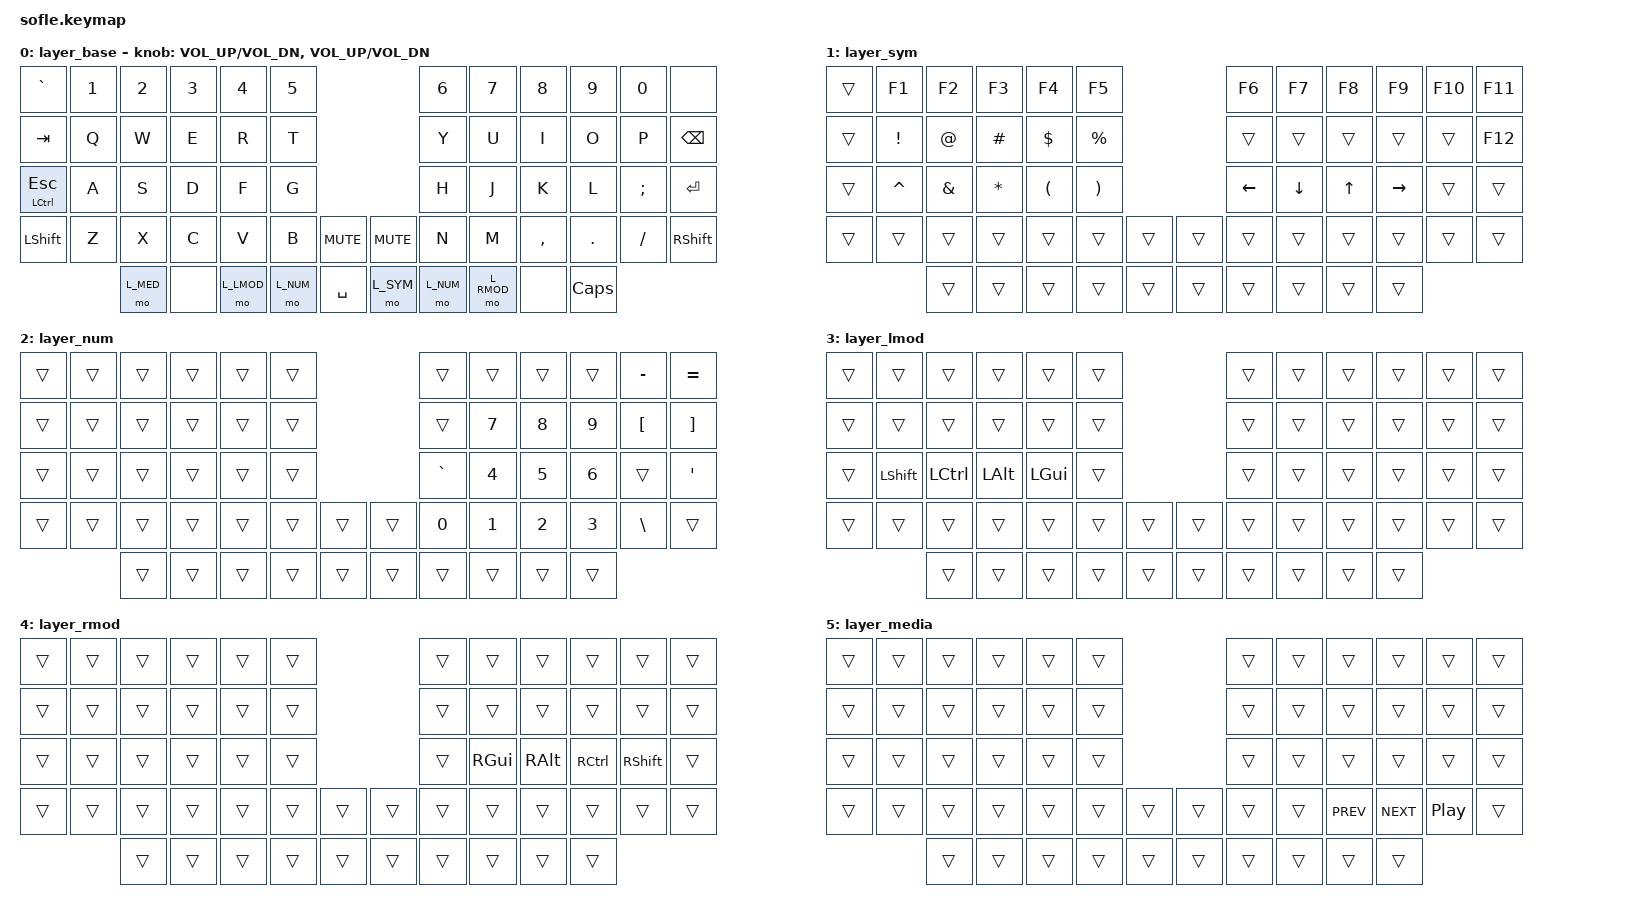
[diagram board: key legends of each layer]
/*
 * Copyright (c) 2020 The ZMK Contributors
 *
 * SPDX-License-Identifier: MIT
 */

#include <behaviors.dtsi>
#include <dt-bindings/zmk/keys.h>
#include <dt-bindings/zmk/bt.h>

#define BASE 0
#define L_SYM 1 // navigation, symbols, fn
#define L_NUM 2 // numpad, right-corner symbols
#define L_LMOD 3
#define L_RMOD 4
#define L_MED 5

/ {
    keymap {
        compatible = "zmk,keymap";

        layer_base {
// ------------------------------------------------------------------------------------------------------------
// |   ˙    |  1  |  2    |  3   |  4   |  5   |                   |  6   |  7    |  8    |  9   |   0   |       |
// |  TAB   |  Q  |  W    |  E   |  R   |  T   |                   |  Y   |  U    |  I    |  O   |   P   | BKSPC |
// |  ESC   |  A  |  D    |  D   |  F   |  G   |                   |  H   |  J    |  K    | L    |   ;   |RETURN |
// | LSHIFT |  Z  |  X    |  C   |  V   |  B   |  MUTE  |  | MUTE  |  N   |  M    |  ,    |  .   |   /   | RSHIFT|
//                | L_MED |      |L_LMOD| L_NUM|  SPACE |  | L_SYM | L_NUM|L_RMOD |       | CAPS |
            bindings = <
&kp GRAVE     &kp N1   &kp N2    &kp N3   &kp N4     &kp N5                          &kp N6    &kp N7     &kp N8    &kp N9  &kp N0   &none
&kp TAB       &kp Q    &kp W     &kp E    &kp R      &kp T                           &kp Y     &kp U      &kp I     &kp O   &kp P    &kp BSPC
&mt LCTRL ESC &kp A    &kp S     &kp D    &kp F      &kp G                           &kp H     &kp J      &kp K     &kp L   &kp SEMI &kp RETURN
&kp LSHIFT    &kp Z    &kp X     &kp C    &kp V      &kp B     &kp C_MUTE &kp C_MUTE &kp N     &kp M      &kp COMMA &kp DOT &kp FSLH &kp RSHIFT
                       &mo L_MED &none    &mo L_LMOD &mo L_NUM &kp SPACE  &mo L_SYM  &mo L_NUM &mo L_RMOD &none     &kp CAPS
            >;

            sensor-bindings = <&inc_dec_kp C_VOL_UP C_VOL_DN &inc_dec_kp C_VOL_UP C_VOL_DN>;
        };

        layer_sym {
// TODO: Some binds are waiting for shifted keycode support.
// ------------------------------------------------------------------------------------------------------------
// |       |  F1   |   F2  |   F3  |  F4   |  F5   |                 |  F6   |  F7   |  F8   |  F9   |  F10  |  F11  |
// |       |  EXCL | AT    |  HASH | DLLR  | PRCNT |                 |       |       |       |       |       |  F12  |
// |       | CARET | AMPS  | ASTRK | LPAR  | RPAR  |                 | LEFT  | DOWN  |  UP   | RIGHT |       |       |
// |       |       |       |       |       |       |      |  |       |       |       |       |       |       |       |
//                 |       |       |       |       |      |  |       |       |       |       |       |
            bindings = <
&trans &kp F1    &kp F2   &kp F3    &kp F4   &kp F5               &kp F6   &kp F7   &kp F8 &kp F9    &kp F10 &kp F11
&trans &kp EXCL  &kp AT   &kp HASH  &kp DLLR &kp PRCNT            &trans   &trans   &trans &trans    &trans  &kp F12
&trans &kp CARET &kp AMPS &kp ASTRK &kp LPAR &kp RPAR             &kp LEFT &kp DOWN &kp UP &kp RIGHT &trans  &trans
&trans &trans    &trans   &trans    &trans   &trans &trans &trans &trans   &trans   &trans &trans    &trans  &trans
                 &trans   &trans    &trans   &trans &trans &trans &trans &trans &trans  &trans
            >;
        };

        layer_num {
// ------------------------------------------------------------------------------------------------------------
// |       |       |       |       |       |       |                 |       |       |       |       | MINUS | EQUAL |
// |       |       |       |       |       |       |                 |       |   7   |   8   |   9   | LBKT  | RBKT  |
// |       |       |       |       |       |       |                 |   `   |   4   |   5   |   6   |       |  SQT  |
// |       |       |       |       |       |       |      |  |       |   0   |   1   |   2   |   3   |  \    |       |
//                 |       |       |       |       |      |  |       |       |       |       |       |
            bindings = <
&trans &trans    &trans   &trans    &trans   &trans                     &trans    &trans &trans &trans &kp MINUS &kp EQUAL
&trans &trans    &trans   &trans    &trans   &trans                     &trans    &kp N7 &kp N8 &kp N9 &kp LBKT  &kp RBKT
&trans &trans    &trans   &trans    &trans   &trans                     &kp GRAVE &kp N4 &kp N5 &kp N6 &trans    &kp SQT
&trans &trans    &trans   &trans    &trans   &trans    &trans    &trans &kp N0    &kp N1 &kp N2 &kp N3 &kp BSLH  &trans
                 &trans   &trans    &trans   &trans    &trans    &trans &trans    &trans &trans &trans
            >;
        };

        layer_lmod {
// ------------------------------------------------------------------------------------------------------------
// |       |       |       |       |       |       |                 |       |       |       |       |       |       |
// |       |       |       |       |       |       |                 |       |       |       |       |       |       |
// |       | LSHIFT| LCTRL | LALT  | LGUI  |       |                 |       |       |       |       |       |       |
// |       |       |       |       |       |       |      |  |       |       |       |       |       |       |       |
//                 |       |       |       |       |      |  |       |       |       |       |       |
            bindings = <
&trans &trans     &trans    &trans    &trans   &trans                       &trans    &trans &trans &trans &trans &trans
&trans &trans     &trans    &trans    &trans   &trans                       &trans    &trans &trans &trans &trans &trans
&trans &kp LSHIFT &kp LCTL  &kp LALT  &kp LGUI &trans                       &trans    &trans &trans &trans &trans &trans
&trans &trans     &trans    &trans    &trans   &trans    &trans   &trans    &trans    &trans &trans &trans &trans &trans
                  &trans    &trans    &trans   &trans    &trans   &trans    &trans    &trans &trans &trans
            >;
        };

        layer_rmod {
// ------------------------------------------------------------------------------------------------------------
// |       |       |       |       |       |       |                 |       |       |       |       |       |       |
// |       |       |       |       |       |       |                 |       |       |       |       |       |       |
// |       |       |       |       |       |       |                 |       | RGUI  | RALT  | RCTL  |RSHIFT |       |
// |       |       |       |       |       |       |      |  |       |       |       |       |       |       |       |
//                 |       |       |       |       |      |  |       |       |       |       |       |
            bindings = <
&trans &trans  &trans    &trans    &trans   &trans                       &trans &trans   &trans   &trans   &trans     &trans
&trans &trans  &trans    &trans    &trans   &trans                       &trans &trans   &trans   &trans   &trans     &trans
&trans &trans  &trans    &trans    &trans   &trans                       &trans &kp RGUI &kp RALT &kp RCTL &kp RSHIFT &trans
&trans &trans  &trans    &trans    &trans   &trans    &trans   &trans    &trans &trans   &trans   &trans   &trans     &trans
                  &trans    &trans    &trans   &trans    &trans   &trans    &trans &trans   &trans   &trans
            >;
        };

        layer_media {
// ------------------------------------------------------------------------------------------------------------
// |       |       |       |       |       |       |                 |       |       |       |       |            |       |
// |       |       |       |       |       |       |                 |       |       |       |       |            |       |
// |       |       |       |       |       |       |                 |       |       |       |       |            |       |
// |       |       |       |       |       |       |      |  |       |       |       | prev  | next  | play/pause |       |
//                 |       |       |       |       |      |  |       |       |       |       |       |
            bindings = <
&trans &trans     &trans    &trans    &trans   &trans                       &trans &trans   &trans     &trans     &trans   &trans
&trans &trans     &trans    &trans    &trans   &trans                       &trans &trans   &trans     &trans     &trans   &trans
&trans &trans     &trans    &trans    &trans   &trans                       &trans &trans   &trans     &trans     &trans   &trans
&trans &trans     &trans    &trans    &trans   &trans    &trans   &trans    &trans &trans   &kp C_PREV &kp C_NEXT &kp C_PP &trans
                  &trans    &trans    &trans   &trans    &trans   &trans    &trans &trans   &trans     &trans
            >;
        };
    };
};
